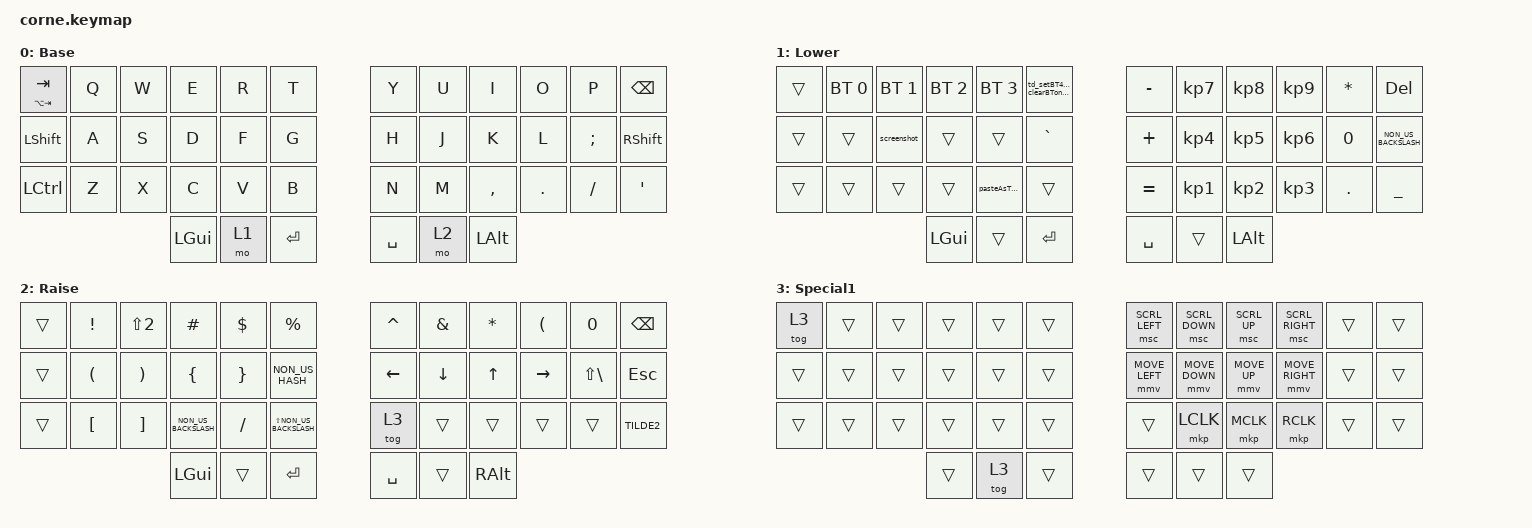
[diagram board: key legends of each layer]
/*
 * Copyright (c) 2020 The ZMK Contributors
 *
 * SPDX-License-Identifier: MIT
 */

#include <behaviors.dtsi>
#include <dt-bindings/zmk/bt.h>
#include <dt-bindings/zmk/keys.h>
#include <dt-bindings/zmk/pointing.h>

/ {
    macros {
        screenshot: screenshot {
            compatible = "zmk,behavior-macro";
            #binding-cells = <0>;
            bindings = <&kp LG(LS(S))>;
            label = "SCREENSHOT";
        };

        pasteAsText: pasteAsText {
            compatible = "zmk,behavior-macro";
            #binding-cells = <0>;
            bindings = <&kp LC(LG(LA(V)))>;
            label = "PASTEASTEXT";
        };
    };

    behaviors {
        td_tKey_special1Layer: td_tKey_special1Layer {
            compatible = "zmk,behavior-tap-dance";
            label = "TD_TKEY_SPECIAL1LAYER";
            #binding-cells = <0>;
            bindings = <&kp T>, <&kp T>, <&tog 3>;
        };

        td_setBT4x2_clearBTon3rd: td_setBT4x2_clearBTon3rd {
            compatible = "zmk,behavior-tap-dance";
            label = "TD_SETBT4X2_CLEARBTON3RD";
            #binding-cells = <0>;
            bindings = <&bt BT_SEL 4>, <&bt BT_SEL 4>, <&bt BT_CLR>;
        };
    };

    keymap {
        compatible = "zmk,keymap";

        default_layer {
            // -----------------------------------------------------------------------------------------
            // |  TAB |  Q  |  W  |  E  |  R  |  T  |   |  Y  |  U   |  I  |  O  |  P  | BKSP |
            // | CTRL |  A  |  S  |  D  |  F  |  G  |   |  H  |  J   |  K  |  L  |  ;  |  '   |
            // | SHFT |  Z  |  X  |  C  |  V  |  B  |   |  N  |  M   |  ,  |  .  |  /  | ESC  |
            //                    | GUI | LWR | SPC |   | ENT | RSE  | ALT |

            display-name = "Base";
            bindings = <
&mt LA(TAB) TAB   &kp Q  &kp W  &kp E     &kp R  &kp T         &kp Y      &kp U  &kp I         &kp O    &kp P     &kp BSPC
&kp LEFT_SHIFT    &kp A  &kp S  &kp D     &kp F  &kp G         &kp H      &kp J  &kp K         &kp L    &kp SEMI  &kp RIGHT_SHIFT
&kp LEFT_CONTROL  &kp Z  &kp X  &kp C     &kp V  &kp B         &kp N      &kp M  &kp COMMA     &kp DOT  &kp FSLH  &kp SQT
                                &kp LGUI  &mo 1  &kp RETURN    &kp SPACE  &mo 2  &kp LEFT_ALT
            >;
        };

        lower_layer {
            // -----------------------------------------------------------------------------------------
            // |  TAB |  1  |  2  |  3  |  4  |  5  |   |  6  |  7  |  8  |  9  |  0  | BKSP |
            // | BTCLR| BT1 | BT2 | BT3 | BT4 | BT5 |   | LFT | DWN |  UP | RGT |     |      |
            // | SHFT |     |     |     |     |     |   |     |     |     |     |     |      |
            //                    | GUI |     | SPC |   | ENT |     | ALT |

            display-name = "Lower";
            bindings = <
&trans  &bt BT_SEL 0  &bt BT_SEL 1  &bt BT_SEL 2  &bt BT_SEL 3  &td_setBT4x2_clearBTon3rd    &kp MINUS  &kp KP_NUMBER_7  &kp KP_NUMBER_8  &kp KP_NUMBER_9  &kp ASTERISK  &kp DELETE
&trans  &trans        &screenshot   &trans        &trans        &kp GRAVE                    &kp PLUS   &kp KP_NUMBER_4  &kp KP_NUMBER_5  &kp KP_NUMBER_6  &kp NUMBER_0  &kp NON_US_BACKSLASH
&trans  &trans        &trans        &trans        &pasteAsText  &trans                       &kp EQUAL  &kp KP_NUMBER_1  &kp KP_NUMBER_2  &kp KP_NUMBER_3  &kp PERIOD    &kp UNDERSCORE
                                    &kp LGUI      &trans        &kp RETURN                   &kp SPACE  &trans           &kp LEFT_ALT
            >;
        };

        raise_layer {
            // -----------------------------------------------------------------------------------------
            // |  TAB |  !  |  @  |  #  |  $  |  %  |   |  ^  |  &  |  *  |  (  |  )  | BKSP |
            // | CTRL |     |     |     |     |     |   |  -  |  =  |  [  |  ]  |  \  |  `   |
            // | SHFT |     |     |     |     |     |   |  _  |  +  |  {  |  }  | "|" |  ~   |
            //                    | GUI |     | SPC |   | ENT |     | ALT |

            display-name = "Raise";
            bindings = <
&trans  &kp EXCLAMATION       &kp LS(NUMBER_2)       &kp HASH              &kp DLLR         &kp PRCNT                   &kp CARET       &kp AMPS        &kp ASTERISK  &kp LEFT_PARENTHESIS  &kp N0        &kp BSPC
&trans  &kp LEFT_PARENTHESIS  &kp RIGHT_PARENTHESIS  &kp LEFT_BRACE        &kp RIGHT_BRACE  &kp NON_US_HASH             &kp LEFT_ARROW  &kp DOWN_ARROW  &kp UP_ARROW  &kp RIGHT_ARROW       &kp LS(BSLH)  &kp ESCAPE
&trans  &kp LEFT_BRACKET      &kp RIGHT_BRACKET      &kp NON_US_BACKSLASH  &kp SLASH        &kp LS(NON_US_BACKSLASH)    &tog 3          &trans          &trans        &trans                &trans        &kp TILDE2
                                                     &kp LGUI              &trans           &kp RETURN                  &kp SPACE       &trans          &kp RALT
            >;
        };

        Special1_layer {
            // -----------------------------------------------------------------------------------------
            // |  TAB |  !  |  @  |  #  |  $  |  %  |   |  ^  |  &  |  *  |  (  |  )  | BKSP |
            // | CTRL |     |     |     |     |     |   |  -  |  =  |  [  |  ]  |  \  |  `   |
            // | SHFT |     |     |     |     |     |   |  _  |  +  |  {  |  }  | "|" |  ~   |
            //                    | GUI |     | SPC |   | ENT |     | ALT |

            display-name = "Special1";
            bindings = <
&tog 3  &trans  &trans  &trans  &trans  &trans    &msc SCRL_LEFT  &msc SCRL_DOWN  &msc SCRL_UP  &msc SCRL_RIGHT  &trans  &trans
&trans  &trans  &trans  &trans  &trans  &trans    &mmv MOVE_LEFT  &mmv MOVE_DOWN  &mmv MOVE_UP  &mmv MOVE_RIGHT  &trans  &trans
&trans  &trans  &trans  &trans  &trans  &trans    &trans          &mkp LCLK       &mkp MCLK     &mkp RCLK        &trans  &trans
                        &trans  &tog 3  &trans    &trans          &trans          &trans
            >;
        };
    };
};
